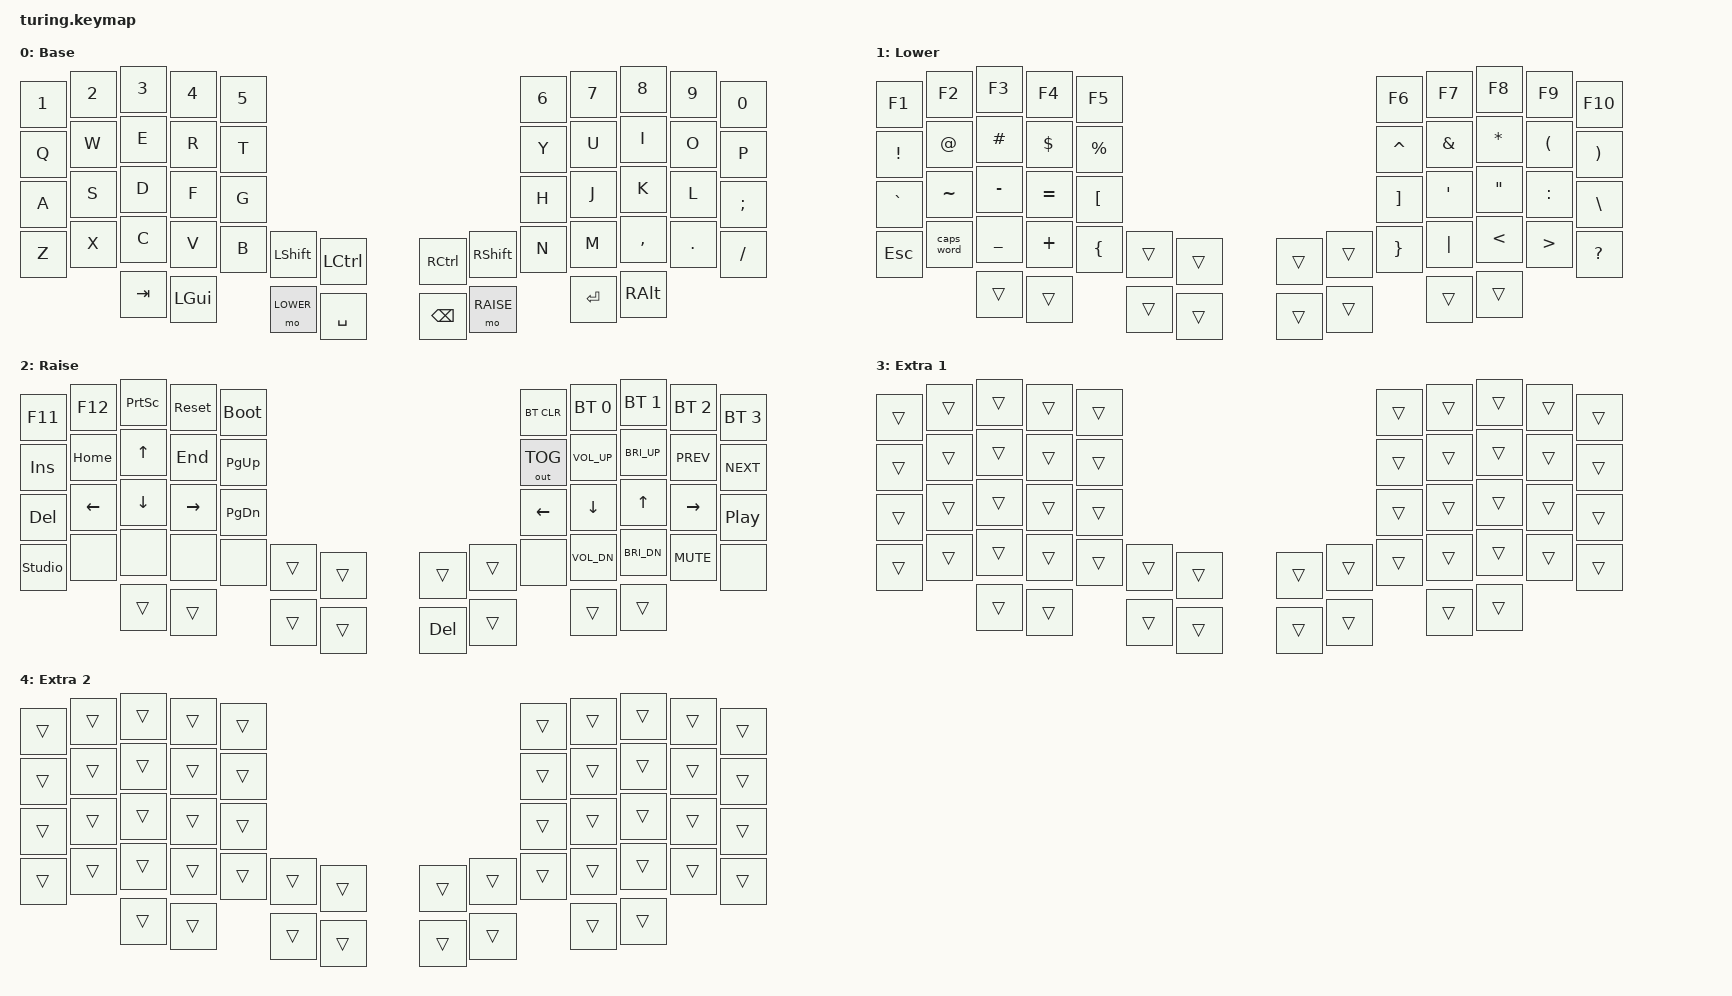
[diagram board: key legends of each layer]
/*
 * Copyright (c) 2020 The ZMK Contributors
 *
 * SPDX-License-Identifier: MIT
 *
 * Turing split keymap
 *
 * Layout follows the conventions of similar boards (Sofle, Lily58, Corne):
 *  - Space on the left inner thumb, Backspace on the right inner thumb
 *  - Lower/Raise layer holds sit right next to Space/Backspace
 *  - Shift + Ctrl on the inner-cluster keys of BOTH hands
 *  - Hold Raise and tap the Backspace key for Delete
 *
 * Layers 3 and 4 are intentionally empty: ZMK Studio can edit existing
 * layers at runtime but cannot create new ones, so these are spares.
 */

#include <behaviors.dtsi>
#include <dt-bindings/zmk/keys.h>
#include <dt-bindings/zmk/bt.h>
#include <dt-bindings/zmk/outputs.h>

#define BASE  0
#define LOWER 1
#define RAISE 2

/ {
	keymap {
		compatible = "zmk,keymap";

		default_layer {
			display-name = "Base";
			// |  1  |  2  |  3  |  4  |  5  |                             |  6  |  7  |  8  |  9  |  0  |
			// |  Q  |  W  |  E  |  R  |  T  |                             |  Y  |  U  |  I  |  O  |  P  |
			// |  A  |  S  |  D  |  F  |  G  |                             |  H  |  J  |  K  |  L  |  ;  |
			// |  Z  |  X  |  C  |  V  |  B  | SHFT | CTRL |  | CTRL | SHFT |  N  |  M  |  ,  |  .  |  /  |
			//             | TAB | GUI |       | LOWR | SPC |  | BSPC | RASE |      | RET | ALT |
			bindings = <
				&kp N1   &kp N2   &kp N3   &kp N4   &kp N5                                                      &kp N6   &kp N7   &kp N8    &kp N9   &kp N0
				&kp Q    &kp W    &kp E    &kp R    &kp T                                                       &kp Y    &kp U    &kp I     &kp O    &kp P
				&kp A    &kp S    &kp D    &kp F    &kp G                                                       &kp H    &kp J    &kp K     &kp L    &kp SEMI
				&kp Z    &kp X    &kp C    &kp V    &kp B    &kp LSHFT  &kp LCTRL       &kp RCTRL  &kp RSHFT    &kp N    &kp M    &kp COMMA &kp DOT  &kp FSLH
				                  &kp TAB  &kp LGUI          &mo LOWER  &kp SPACE       &kp BSPC   &mo RAISE             &kp RET  &kp RALT
			>;
		};

		lower_layer {
			display-name = "Lower";
			// Symbols + F-keys (hold the left LOWER thumb key)
			// | F1  | F2  | F3  | F4  | F5  |                             | F6  | F7  | F8  | F9  | F10 |
			// |  !  |  @  |  #  |  $  |  %  |                             |  ^  |  &  |  *  |  (  |  )  |
			// |  `  |  ~  |  -  |  =  |  [  |                             |  ]  |  '  |  "  |  :  |  \  |
			// | ESC | CAPW|  _  |  +  |  {  | ---- | ---- |  | ---- | ---- |  }  |  |  |  <  |  >  |  ?  |
			//             | --- | --- |       | ---- | ---- |  | ---- | ---- |      | --- | --- |
			bindings = <
				&kp F1     &kp F2     &kp F3    &kp F4    &kp F5                                                &kp F6    &kp F7   &kp F8   &kp F9    &kp F10
				&kp EXCL   &kp AT     &kp HASH  &kp DLLR  &kp PRCNT                                             &kp CARET &kp AMPS &kp STAR &kp LPAR  &kp RPAR
				&kp GRAVE  &kp TILDE  &kp MINUS &kp EQUAL &kp LBKT                                              &kp RBKT  &kp SQT  &kp DQT  &kp COLON &kp BSLH
				&kp ESC    &caps_word &kp UNDER &kp PLUS  &kp LBRC  &trans  &trans          &trans  &trans      &kp RBRC  &kp PIPE &kp LT   &kp GT    &kp QMARK
				                      &trans    &trans              &trans  &trans          &trans  &trans                &trans   &trans
			>;
		};

		raise_layer {
			display-name = "Raise";
			// Navigation / media / Bluetooth (hold the right RAISE thumb key)
			// RAISE + Backspace = Delete. Arrows on both hands (inverted-T left, vim-style right).
			// | F11 | F12 | PSCR| RST | BOOT|                             | BTCL| BT0 | BT1 | BT2 | BT3 |
			// | INS | HOME| UP  | END | PGUP|                             | OUT | VOL+| BRI+| PREV| NEXT|
			// | DEL | LEFT| DOWN| RGHT| PGDN|                             | LEFT| DOWN| UP  | RGHT| PLAY|
			// | UNLK| --- | --- | --- | --- | ---- | ---- |  | ---- | ---- | --- | VOL-| BRI-| MUTE| --- |
			//             | --- | --- |       | ---- | ---- |  | DEL  | ---- |      | --- | --- |
			bindings = <
				&kp F11        &kp F12   &kp PSCRN &sys_reset &bootloader                                       &bt BT_CLR   &bt BT_SEL 0 &bt BT_SEL 1 &bt BT_SEL 2 &bt BT_SEL 3
				&kp INS        &kp HOME  &kp UP    &kp END    &kp PG_UP                                         &out OUT_TOG &kp C_VOL_UP &kp C_BRI_UP &kp C_PREV   &kp C_NEXT
				&kp DEL        &kp LEFT  &kp DOWN  &kp RIGHT  &kp PG_DN                                         &kp LEFT     &kp DOWN     &kp UP       &kp RIGHT    &kp C_PP
				&studio_unlock &none     &none     &none      &none      &trans  &trans        &trans  &trans   &none        &kp C_VOL_DN &kp C_BRI_DN &kp C_MUTE   &none
				                         &trans    &trans                &trans  &trans        &kp DEL &trans                &trans       &trans
			>;
		};

		extra1_layer {
			display-name = "Extra 1";
			bindings = <
				&trans  &trans  &trans  &trans  &trans                                                          &trans  &trans  &trans  &trans  &trans
				&trans  &trans  &trans  &trans  &trans                                                          &trans  &trans  &trans  &trans  &trans
				&trans  &trans  &trans  &trans  &trans                                                          &trans  &trans  &trans  &trans  &trans
				&trans  &trans  &trans  &trans  &trans  &trans  &trans          &trans  &trans                  &trans  &trans  &trans  &trans  &trans
				                &trans  &trans          &trans  &trans          &trans  &trans                          &trans  &trans
			>;
		};

		extra2_layer {
			display-name = "Extra 2";
			bindings = <
				&trans  &trans  &trans  &trans  &trans                                                          &trans  &trans  &trans  &trans  &trans
				&trans  &trans  &trans  &trans  &trans                                                          &trans  &trans  &trans  &trans  &trans
				&trans  &trans  &trans  &trans  &trans                                                          &trans  &trans  &trans  &trans  &trans
				&trans  &trans  &trans  &trans  &trans  &trans  &trans          &trans  &trans                  &trans  &trans  &trans  &trans  &trans
				                &trans  &trans          &trans  &trans          &trans  &trans                          &trans  &trans
			>;
		};
	};
};
